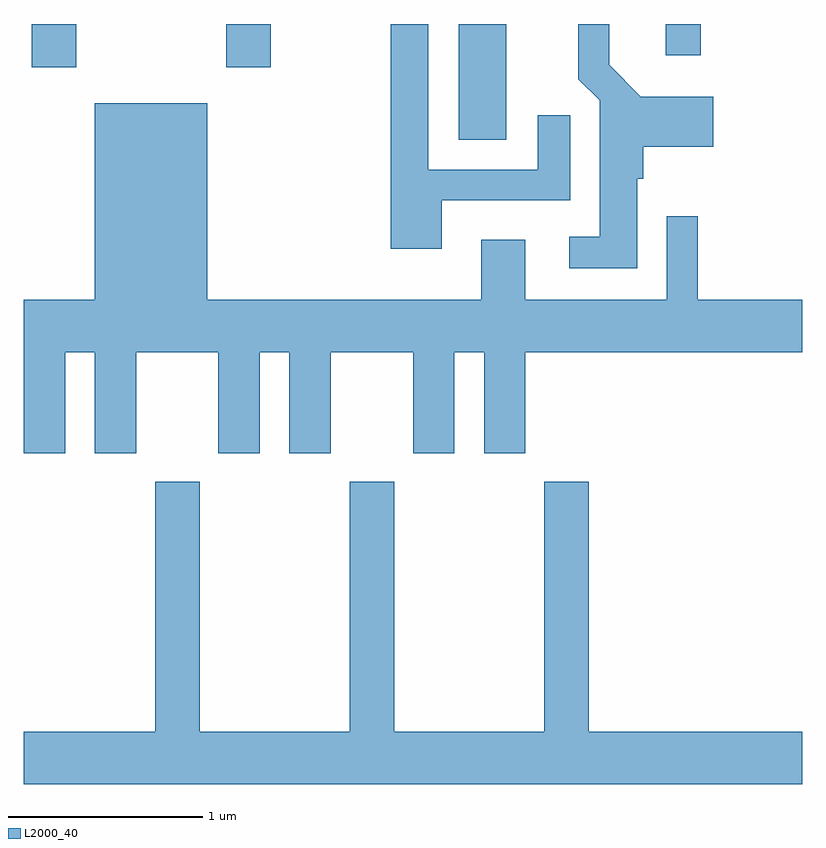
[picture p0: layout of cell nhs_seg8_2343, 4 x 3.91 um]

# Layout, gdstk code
import gdstk
lib = gdstk.Library(unit=1e-6, precision=1e-09)
def R(c, l, rs):  # rectangles x0, y0, x1, y1
    for r in rs: c.add(gdstk.rectangle(r[:2], r[2:], *l))
def P(c, l, *ps):  # polygons
    for p in ps: c.add(gdstk.Polygon(p, *l))
L2000_40 = (2000, 40)

nhs_seg8_2343 = lib.new_cell('nhs_seg8_2343')
R(nhs_seg8_2343, L2000_40, [(257.846,1819.746,258.089,1820.342), (255.651,1820.121,255.879,1820.342), (256.651,1820.121,256.879,1820.342), (258.911,1820.181,259.089,1820.342)])
P(nhs_seg8_2343, L2000_40, [(258.764,1819.546),(258.794,1819.546),(258.794,1819.711),(259.154,1819.711),(259.154,1819.969),(258.782,1819.969),(258.619,1820.132),(258.619,1820.342),(258.461,1820.342),(258.461,1820.059),(258.571,1819.949),(258.571,1819.249),(258.413,1819.249),(258.413,1819.086),(258.764,1819.086)],
  [(257.759,1819.436),(258.419,1819.436),(258.419,1819.873),(258.251,1819.873),(258.251,1819.594),(257.689,1819.594),(257.689,1820.342),(257.496,1820.342),(257.496,1819.186),(257.759,1819.186)],
  [(255.824,1818.656),(255.976,1818.656),(255.976,1818.136),(256.189,1818.136),(256.189,1818.656),(256.611,1818.656),(256.611,1818.136),(256.824,1818.136),(256.824,1818.656),(256.976,1818.656),(256.976,1818.136),(257.189,1818.136),(257.189,1818.656),(257.611,1818.656),(257.611,1818.136),(257.824,1818.136),(257.824,1818.656),(257.976,1818.656),(257.976,1818.136),(258.189,1818.136),(258.189,1818.656),(259.611,1818.656),(259.611,1818.924),(259.074,1818.924),(259.074,1819.353),(258.916,1819.353),(258.916,1818.924),(258.189,1818.924),(258.189,1819.234),(257.961,1819.234),(257.961,1818.924),(256.554,1818.924),(256.554,1819.934),(255.976,1819.934),(255.976,1818.924),(255.611,1818.924),(255.611,1818.136),(255.824,1818.136)],
  [(259.611,1816.704),(258.514,1816.704),(258.514,1817.989),(258.286,1817.989),(258.286,1816.704),(257.514,1816.704),(257.514,1817.989),(257.286,1817.989),(257.286,1816.704),(256.514,1816.704),(256.514,1817.989),(256.286,1817.989),(256.286,1816.704),(255.611,1816.704),(255.611,1816.436),(259.611,1816.436)])

lib.write_gds('nhs_seg8_2343.gds')
